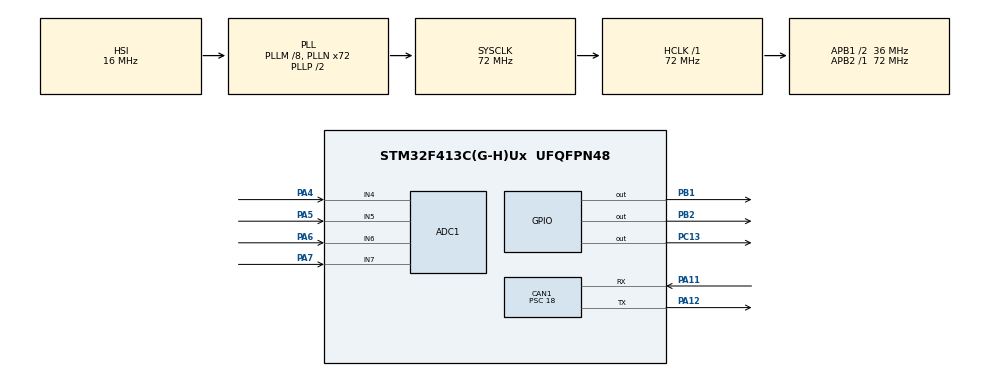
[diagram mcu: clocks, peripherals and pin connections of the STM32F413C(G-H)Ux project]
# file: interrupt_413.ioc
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ADC1.Channel-1\#ChannelRegularConversion=ADC_CHANNEL_6
ADC1.Channel-3\#ChannelRegularConversion=ADC_CHANNEL_7
ADC1.Channel-4\#ChannelRegularConversion=ADC_CHANNEL_4
ADC1.Channel-5\#ChannelRegularConversion=ADC_CHANNEL_5
ADC1.ClockPrescaler=ADC_CLOCK_SYNC_PCLK_DIV4
ADC1.ContinuousConvMode=ENABLE
ADC1.DMAContinuousRequests=ENABLE
ADC1.DiscontinuousConvMode=DISABLE
ADC1.EOCSelection=ADC_EOC_SEQ_CONV
ADC1.InjNumberOfConversion=0
ADC1.NbrOfConversion=4
ADC1.NbrOfConversionFlag=1
ADC1.Rank-1\#ChannelRegularConversion=1
ADC1.Rank-3\#ChannelRegularConversion=2
ADC1.Rank-4\#ChannelRegularConversion=3
ADC1.Rank-5\#ChannelRegularConversion=4
ADC1.SamplingTime-1\#ChannelRegularConversion=ADC_SAMPLETIME_3CYCLES
ADC1.SamplingTime-3\#ChannelRegularConversion=ADC_SAMPLETIME_3CYCLES
ADC1.SamplingTime-4\#ChannelRegularConversion=ADC_SAMPLETIME_3CYCLES
ADC1.SamplingTime-5\#ChannelRegularConversion=ADC_SAMPLETIME_3CYCLES
ADC1.ScanConvMode=ENABLE
ADC1.master=1
CAN1.AWUM=ENABLE
CAN1.BS1=CAN_BS1_2TQ
CAN1.CalculateBaudRate=500000
CAN1.CalculateTimeBit=2000
CAN1.CalculateTimeQuantum=500.0
CAN1.NART=ENABLE
CAN1.Prescaler=18
Dma.ADC1.0.Direction=DMA_PERIPH_TO_MEMORY
Dma.ADC1.0.FIFOMode=DMA_FIFOMODE_DISABLE
Dma.ADC1.0.Instance=DMA2_Stream0
Dma.ADC1.0.MemDataAlignment=DMA_MDATAALIGN_HALFWORD
Dma.ADC1.0.MemInc=DMA_MINC_ENABLE
Dma.ADC1.0.Mode=DMA_CIRCULAR
Dma.ADC1.0.PeriphDataAlignment=DMA_PDATAALIGN_HALFWORD
Dma.ADC1.0.PeriphInc=DMA_PINC_DISABLE
Dma.ADC1.0.Priority=DMA_PRIORITY_LOW
Dma.Request0=ADC1
Mcu.Family=STM32F4
Mcu.Name=STM32F413C(G-H)Ux
Mcu.Package=UFQFPN48
NVIC.CAN1_RX0_IRQn=true\:0\:0\:false\:false\:true\:true\:true
NVIC.CAN1_TX_IRQn=true\:0\:0\:false\:false\:true\:true\:true
NVIC.DMA2_Stream0_IRQn=true\:0\:0\:false\:false\:true\:false\:true
NVIC.PriorityGroup=NVIC_PRIORITYGROUP_4
NVIC.TIM8_TRG_COM_TIM14_IRQn=true\:0\:0\:false\:false\:true\:true\:true
NVIC.TIM8_UP_TIM13_IRQn=true\:0\:0\:false\:false\:true\:true\:true
PA11.Mode=CAN_Activate
PA11.Signal=CAN1_RX
PA12.Mode=CAN_Activate
PA12.Signal=CAN1_TX
PA13.Mode=Serial_Wire
PA13.Signal=SYS_JTMS-SWDIO
PA14.Mode=Serial_Wire
PA14.Signal=SYS_JTCK-SWCLK
PA4.Signal=ADCx_IN4
PA5.Signal=ADCx_IN5
PA6.Signal=ADCx_IN6
PA7.Signal=ADCx_IN7
PB1.Signal=GPIO_Output
PB2.Signal=GPIO_Output
PC13.Signal=GPIO_Output
PH0\ -\ OSC_IN.Mode=HSE-External-Oscillator
PH0\ -\ OSC_IN.Signal=RCC_OSC_IN
PH1\ -\ OSC_OUT.Mode=HSE-External-Oscillator
PH1\ -\ OSC_OUT.Signal=RCC_OSC_OUT
ProjectManager.HeapSize=0x200
ProjectManager.StackSize=0x400
ProjectManager.TargetToolchain=Makefile
RCC.AHBFreq_Value=72000000
RCC.APB1CLKDivider=RCC_HCLK_DIV2
RCC.APB1Freq_Value=36000000
RCC.APB1TimFreq_Value=72000000
RCC.APB2Freq_Value=72000000
RCC.APB2TimFreq_Value=72000000
RCC.CortexFreq_Value=72000000
RCC.HCLKFreq_Value=72000000
RCC.PLLM=8
RCC.PLLN=72
RCC.SYSCLKFreq_VALUE=72000000
RCC.SYSCLKSource=RCC_SYSCLKSOURCE_PLLCLK
RCC.USBFreq_Value=72000000
RCC.VCOOutputFreq_Value=144000000
SH.ADCx_IN4.0=ADC1_IN4,IN4
SH.ADCx_IN5.0=ADC1_IN5,IN5
SH.ADCx_IN6.0=ADC1_IN6,IN6
SH.ADCx_IN7.0=ADC1_IN7,IN7
TIM13.Period=15000-1
TIM13.Prescaler=7200-1
TIM14.Period=1000-1
TIM14.Prescaler=7200-1
VP_TIM13_VS_ClockSourceINT.Mode=Enable_Timer
VP_TIM14_VS_ClockSourceINT.Mode=Enable_Timer
board=custom

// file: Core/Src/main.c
/* USER CODE BEGIN Header */
/**
  ******************************************************************************
  * @file           : main.c
  * @brief          : Main program body
  ******************************************************************************
  * @attention
  *
  * Copyright (c) 2022 STMicroelectronics.
  * All rights reserved.
  *
  * This software is licensed under terms that can be found in the LICENSE file
  * in the root directory of this software component.
  * If no LICENSE file comes with this software, it is provided AS-IS.
  *
  ******************************************************************************
  */
/* USER CODE END Header */
#include "main.h"

/* USER CODE BEGIN Includes */
#include <stdio.h>

/* USER CODE END Includes */

/* USER CODE BEGIN PD */
#define ADC_BUF_LEN 4 // we're scanning 2 analog in, so just a length of two
                      // that way we can fill the buffer and still know which
                      // index is for each pin
/* USER CODE END PD */

ADC_HandleTypeDef hadc1;
DMA_HandleTypeDef hdma_adc1;

CAN_HandleTypeDef hcan1;

TIM_HandleTypeDef htim13;
TIM_HandleTypeDef htim14;

/* USER CODE BEGIN PV */
uint16_t adc_buf[ADC_BUF_LEN];
uint16_t raw;

CAN_TxHeaderTypeDef TxHeader;
uint32_t TxMailbox;
uint8_t TxData[8];

uint8_t pedal0 = 0;
uint8_t pedal1 = 0;
uint8_t brake0 = 0;
uint8_t brake1 = 0;

/* USER CODE END PV */

void SystemClock_Config(void);
static void MX_GPIO_Init(void);
static void MX_DMA_Init(void);
static void MX_ADC1_Init(void);
static void MX_TIM14_Init(void);
static void MX_TIM13_Init(void);
static void MX_CAN1_Init(void);

int main(void)
{
  /* USER CODE BEGIN 1 */
  // uint16_t timer_val;
  // char msg[10];
  uint16_t adc0_prev_value = 0;
  uint16_t adc1_prev_value = 0;

  /* USER CODE END 1 */

  /* MCU Configuration--------------------------------------------------------*/

  /* Reset of all peripherals, Initializes the Flash interface and the Systick. */
  HAL_Init();

  /* Configure the system clock */
  SystemClock_Config();

  /* Initialize all configured peripherals */
  MX_GPIO_Init();
  MX_DMA_Init();
  MX_ADC1_Init();
  MX_TIM14_Init();
  MX_TIM13_Init();
  MX_CAN1_Init();
  /* USER CODE BEGIN 2 */
  // start the timers
  HAL_TIM_Base_Start_IT(&htim14);
  HAL_TIM_Base_Start_IT(&htim13);
  // timer_val = __HAL_TIM_GET_COUNTER(&htim14);
  // timer_val = __HAL_TIM_GET_COUNTER(&htim14);

  // start can and dma
  HAL_CAN_Start(&hcan1);
  HAL_ADC_Start_DMA(&hadc1, (uint32_t*)adc_buf, ADC_BUF_LEN);

  // setting up the transmit header
  TxHeader.DLC = 4;
  TxHeader.ExtId = 0;
  TxHeader.IDE = CAN_ID_STD;
  TxHeader.RTR = CAN_RTR_DATA;
  TxHeader.StdId = 0xA1;
  TxHeader.TransmitGlobalTime = DISABLE;

  /* USER CODE END 2 */

  /* Infinite loop */
  /* USER CODE BEGIN WHILE */
  while (1)
  {
    // HAL_GPIO_TogglePin(GPIOC, GPIO_PIN_13);
    // HAL_Delay(500);

    // if (__HAL_TIM_GET_COUNTER(&htim14) - timer_val >= 10000){
    //   HAL_GPIO_TogglePin(GPIOB, GPIO_PIN_1);
    //   timer_val = __HAL_TIM_GET_COUNTER(&htim14);
    // }

    // HAL_ADC_Start(&hadc1);
    // HAL_ADC_PollForConversion(&hadc1, HAL_MAX_DELAY);
    // raw = HAL_ADC_GetValue(&hadc1);

    // // sprintf(msg, "%hu\r\n", raw);

    // if (raw >= 2048){
    //   HAL_GPIO_WritePin(GPIOC, GPIO_PIN_13, GPIO_PIN_SET);
    // }
    // else{
    //   HAL_GPIO_WritePin(GPIOC, GPIO_PIN_13, GPIO_PIN_RESET);

    // }

    /* USER CODE END WHILE */

  }
}

void SystemClock_Config(void)
{
  RCC_OscInitTypeDef RCC_OscInitStruct = {0};
  RCC_ClkInitTypeDef RCC_ClkInitStruct = {0};

  /** Configure the main internal regulator output voltage
  */
  __HAL_RCC_PWR_CLK_ENABLE();
  __HAL_PWR_VOLTAGESCALING_CONFIG(PWR_REGULATOR_VOLTAGE_SCALE1);
  /** Initializes the RCC Oscillators according to the specified parameters
  * in the RCC_OscInitTypeDef structure.
  */
  RCC_OscInitStruct.OscillatorType = RCC_OSCILLATORTYPE_HSI;
  RCC_OscInitStruct.HSIState = RCC_HSI_ON;
  RCC_OscInitStruct.HSICalibrationValue = RCC_HSICALIBRATION_DEFAULT;
  RCC_OscInitStruct.PLL.PLLState = RCC_PLL_ON;
  RCC_OscInitStruct.PLL.PLLSource = RCC_PLLSOURCE_HSI;
  RCC_OscInitStruct.PLL.PLLM = 8;
  RCC_OscInitStruct.PLL.PLLN = 72;
  RCC_OscInitStruct.PLL.PLLP = RCC_PLLP_DIV2;
  RCC_OscInitStruct.PLL.PLLQ = 2;
  RCC_OscInitStruct.PLL.PLLR = 2;
  if (HAL_RCC_OscConfig(&RCC_OscInitStruct) != HAL_OK)
  {
    Error_Handler();
  }
  /** Initializes the CPU, AHB and APB buses clocks
  */
  RCC_ClkInitStruct.ClockType = RCC_CLOCKTYPE_HCLK|RCC_CLOCKTYPE_SYSCLK
                              |RCC_CLOCKTYPE_PCLK1|RCC_CLOCKTYPE_PCLK2;
  RCC_ClkInitStruct.SYSCLKSource = RCC_SYSCLKSOURCE_PLLCLK;
  RCC_ClkInitStruct.AHBCLKDivider = RCC_SYSCLK_DIV1;
  RCC_ClkInitStruct.APB1CLKDivider = RCC_HCLK_DIV2;
  RCC_ClkInitStruct.APB2CLKDivider = RCC_HCLK_DIV1;

  if (HAL_RCC_ClockConfig(&RCC_ClkInitStruct, FLASH_LATENCY_2) != HAL_OK)
  {
    Error_Handler();
  }
}

static void MX_ADC1_Init(void)
{

  ADC_ChannelConfTypeDef sConfig = {0};

  /** Configure the global features of the ADC (Clock, Resolution, Data Alignment and number of conversion)
  */
  hadc1.Instance = ADC1;
  hadc1.Init.ClockPrescaler = ADC_CLOCK_SYNC_PCLK_DIV4;
  hadc1.Init.Resolution = ADC_RESOLUTION_12B;
  hadc1.Init.ScanConvMode = ENABLE;
  hadc1.Init.ContinuousConvMode = ENABLE;
  hadc1.Init.DiscontinuousConvMode = DISABLE;
  hadc1.Init.ExternalTrigConvEdge = ADC_EXTERNALTRIGCONVEDGE_NONE;
  hadc1.Init.ExternalTrigConv = ADC_SOFTWARE_START;
  hadc1.Init.DataAlign = ADC_DATAALIGN_RIGHT;
  hadc1.Init.NbrOfConversion = 4;
  hadc1.Init.DMAContinuousRequests = ENABLE;
  hadc1.Init.EOCSelection = ADC_EOC_SEQ_CONV;
  if (HAL_ADC_Init(&hadc1) != HAL_OK)
  {
    Error_Handler();
  }
  /** Configure for the selected ADC regular channel its corresponding rank in the sequencer and its sample time.
  */
  sConfig.Channel = ADC_CHANNEL_6;
  sConfig.Rank = 1;
  sConfig.SamplingTime = ADC_SAMPLETIME_3CYCLES;
  if (HAL_ADC_ConfigChannel(&hadc1, &sConfig) != HAL_OK)
  {
    Error_Handler();
  }
  /** Configure for the selected ADC regular channel its corresponding rank in the sequencer and its sample time.
  */
  sConfig.Channel = ADC_CHANNEL_7;
  sConfig.Rank = 2;
  if (HAL_ADC_ConfigChannel(&hadc1, &sConfig) != HAL_OK)
  {
    Error_Handler();
  }
  /** Configure for the selected ADC regular channel its corresponding rank in the sequencer and its sample time.
  */
  sConfig.Channel = ADC_CHANNEL_4;
  sConfig.Rank = 3;
  if (HAL_ADC_ConfigChannel(&hadc1, &sConfig) != HAL_OK)
  {
    Error_Handler();
  }
  /** Configure for the selected ADC regular channel its corresponding rank in the sequencer and its sample time.
  */
  sConfig.Channel = ADC_CHANNEL_5;
  sConfig.Rank = 4;
  if (HAL_ADC_ConfigChannel(&hadc1, &sConfig) != HAL_OK)
  {
    Error_Handler();
  }

}

static void MX_CAN1_Init(void)
{

  hcan1.Instance = CAN1;
  hcan1.Init.Prescaler = 18;
  hcan1.Init.Mode = CAN_MODE_NORMAL;
  hcan1.Init.SyncJumpWidth = CAN_SJW_1TQ;
  hcan1.Init.TimeSeg1 = CAN_BS1_2TQ;
  hcan1.Init.TimeSeg2 = CAN_BS2_1TQ;
  hcan1.Init.TimeTriggeredMode = DISABLE;
  hcan1.Init.AutoBusOff = DISABLE;
  hcan1.Init.AutoWakeUp = ENABLE;
  hcan1.Init.AutoRetransmission = ENABLE;
  hcan1.Init.ReceiveFifoLocked = DISABLE;
  hcan1.Init.TransmitFifoPriority = DISABLE;
  if (HAL_CAN_Init(&hcan1) != HAL_OK)
  {
    Error_Handler();
  }
  /* USER CODE BEGIN CAN1_Init 2 */

  CAN_FilterTypeDef canfilterconfig;
  canfilterconfig.FilterActivation = CAN_FILTER_ENABLE;
  canfilterconfig.FilterBank = 0;
  canfilterconfig.FilterFIFOAssignment = CAN_RX_FIFO0;
  // for the FilterID, we can just use 0x0FF to match all of them
  canfilterconfig.FilterIdHigh = 0x0FF<< 5; // shift 5 because we conly care about standard id, not extended
  canfilterconfig.FilterIdLow = 0x0000;
  // for the maskID, this is what masks against the filterID and the incomming message.
  // so, if we're looking for all the 0x0A_ Values, we can set it to 0x0A0 which would pass through
  // 0x0A0, 0x0A1, 0x0A2 ... As long as the 6th and 8th bit (representing 0x0A0) are "1"
  canfilterconfig.FilterMaskIdHigh = 0xA0 << 5;
  canfilterconfig.FilterMaskIdLow = 0x0000;
  canfilterconfig.FilterMode = CAN_FILTERMODE_IDMASK;
  canfilterconfig.FilterScale = CAN_FILTERSCALE_32BIT;
  canfilterconfig.SlaveStartFilterBank = 0;

  HAL_CAN_ConfigFilter(&hcan1, &canfilterconfig);

  /* USER CODE END CAN1_Init 2 */

}

static void MX_TIM13_Init(void)
{

  htim13.Instance = TIM13;
  htim13.Init.Prescaler = 7200-1;
  htim13.Init.CounterMode = TIM_COUNTERMODE_UP;
  htim13.Init.Period = 15000-1;
  htim13.Init.ClockDivision = TIM_CLOCKDIVISION_DIV1;
  htim13.Init.AutoReloadPreload = TIM_AUTORELOAD_PRELOAD_DISABLE;
  if (HAL_TIM_Base_Init(&htim13) != HAL_OK)
  {
    Error_Handler();
  }

}

static void MX_TIM14_Init(void)
{

  htim14.Instance = TIM14;
  htim14.Init.Prescaler = 7200-1;
  htim14.Init.CounterMode = TIM_COUNTERMODE_UP;
  htim14.Init.Period = 1000-1;
  htim14.Init.ClockDivision = TIM_CLOCKDIVISION_DIV1;
  htim14.Init.AutoReloadPreload = TIM_AUTORELOAD_PRELOAD_DISABLE;
  if (HAL_TIM_Base_Init(&htim14) != HAL_OK)
  {
    Error_Handler();
  }

}

static void MX_DMA_Init(void)
{

  /* DMA controller clock enable */
  __HAL_RCC_DMA2_CLK_ENABLE();

  /* DMA interrupt init */
  /* DMA2_Stream0_IRQn interrupt configuration */
  HAL_NVIC_SetPriority(DMA2_Stream0_IRQn, 0, 0);
  HAL_NVIC_EnableIRQ(DMA2_Stream0_IRQn);

}

static void MX_GPIO_Init(void)
{
  GPIO_InitTypeDef GPIO_InitStruct = {0};

  /* GPIO Ports Clock Enable */
  __HAL_RCC_GPIOC_CLK_ENABLE();
  __HAL_RCC_GPIOH_CLK_ENABLE();
  __HAL_RCC_GPIOA_CLK_ENABLE();
  __HAL_RCC_GPIOB_CLK_ENABLE();

  /*Configure GPIO pin Output Level */
  HAL_GPIO_WritePin(GPIOC, GPIO_PIN_13, GPIO_PIN_RESET);

  /*Configure GPIO pin Output Level */
  HAL_GPIO_WritePin(GPIOB, GPIO_PIN_1|GPIO_PIN_2, GPIO_PIN_RESET);

  /*Configure GPIO pin : PC13 */
  GPIO_InitStruct.Pin = GPIO_PIN_13;
  GPIO_InitStruct.Mode = GPIO_MODE_OUTPUT_PP;
  GPIO_InitStruct.Pull = GPIO_NOPULL;
  GPIO_InitStruct.Speed = GPIO_SPEED_FREQ_LOW;
  HAL_GPIO_Init(GPIOC, &GPIO_InitStruct);

  /*Configure GPIO pins : PB1 PB2 */
  GPIO_InitStruct.Pin = GPIO_PIN_1|GPIO_PIN_2;
  GPIO_InitStruct.Mode = GPIO_MODE_OUTPUT_PP;
  GPIO_InitStruct.Pull = GPIO_NOPULL;
  GPIO_InitStruct.Speed = GPIO_SPEED_FREQ_LOW;
  HAL_GPIO_Init(GPIOB, &GPIO_InitStruct);

}

/* USER CODE BEGIN 4 */

// Callbacks for the different interrupts and messages

void HAL_TIM_PeriodElapsedCallback(TIM_HandleTypeDef *htim){
  // if (htim == &htim13){ // check which timer was called
  //   HAL_GPIO_TogglePin(GPIOB, GPIO_PIN_1);

  // }
  if (htim == &htim14){ // check with timer was called
    TxData[0] = pedal0;
    TxData[1] = pedal1;
    TxData[2] = brake0;
    TxData[3] = brake1;

    // add and transmit the message
    HAL_CAN_AddTxMessage(&hcan1, &TxHeader, TxData, &TxMailbox);
  }
}

// There's "Half" and "Full" buffers we can call on. For us, we want to
// scan all the pins which will fill up the buffer, so wait until the
// buffer is full.
void HAL_ADC_ConvCpltCallback(ADC_HandleTypeDef* hadc){

  // if (adc_buf[0] >= 2048){

  //   HAL_GPIO_WritePin(GPIOA, GPIO_PIN_10, GPIO_PIN_SET);
  // }
  // else{
  //   HAL_GPIO_WritePin(GPIOA, GPIO_PIN_10, GPIO_PIN_RESET);
  // }
  // if (adc_buf[1] >= 2048){

  //   HAL_GPIO_WritePin(GPIOB, GPIO_PIN_2, GPIO_PIN_SET);
  //   TxData[0] = 1;
  //   // TxData[1] = 2;float

  //   // add and transmit the message
  //   // HAL_CAN_AddTxMessage(&hcan1, &TxHeader, TxData, &TxMailbox);
  // }
  // else{
    // HAL_GPIO_WritePin(GPIOB, GPIO_PIN_2, GPIO_PIN_RESET);
    pedal0 = adc_buf[0];
    pedal1 = adc_buf[1];

    // add and transmit the message
    // HAL_CAN_AddTxMessage(&hcan1, &TxHeader, TxData, &TxMailbox);
  // }
}

// void HAL_ADC_ConvHalfCpltCallback(ADC_HandleTypeDef* hadc){
//   HAL_GPIO_WritePin(GPIOC, GPIO_PIN_13, GPIO_PIN_RESET);
// }

/* USER CODE END 4 */

void Error_Handler(void)
{
  __disable_irq();
  while (1)
  {
  }
}
